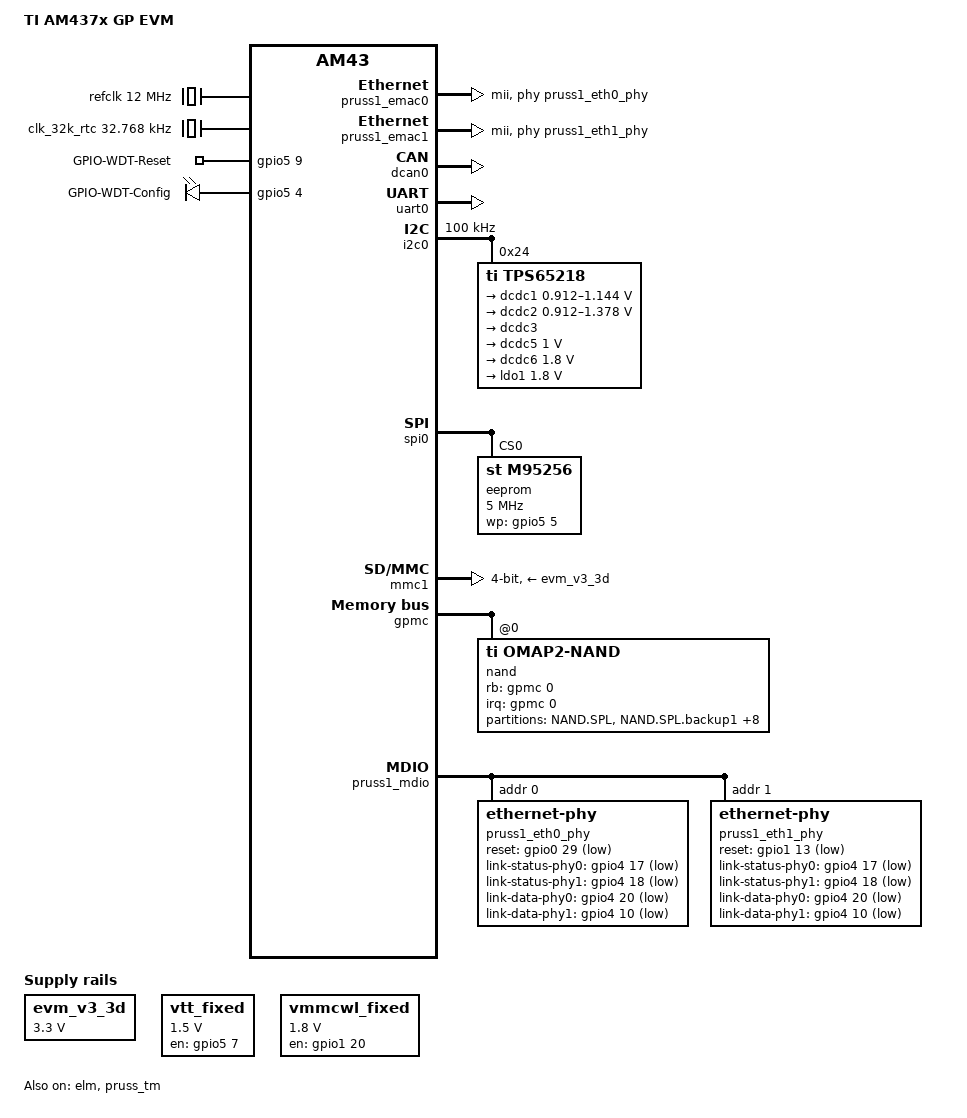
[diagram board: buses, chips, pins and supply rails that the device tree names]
// SPDX-License-Identifier: GPL-2.0-only
/*
 * Copyright (C) 2013 Texas Instruments Incorporated - http://www.ti.com/
 */

/* AM437x GP EVM */

/dts-v1/;

#include "am4372.dtsi"
#include <dt-bindings/pinctrl/am43xx.h>
#include <dt-bindings/pwm/pwm.h>
#include <dt-bindings/gpio/gpio.h>

/ {
	model = "TI AM437x GP EVM";
	compatible = "ti,am437x-gp-evm","ti,am4372","ti,am43";

	aliases {
                ethernet2 = &pruss1_emac0;
                ethernet3 = &pruss1_emac1;
	};

	chosen {
		stdout-path = &uart0;
	};

	evm_v3_3d: fixedregulator-v3_3d {
		compatible = "regulator-fixed";
		regulator-name = "evm_v3_3d";
		regulator-min-microvolt = <3300000>;
		regulator-max-microvolt = <3300000>;
		enable-active-high;
	};

	vtt_fixed: fixedregulator-vtt {
		compatible = "regulator-fixed";
		regulator-name = "vtt_fixed";
		regulator-min-microvolt = <1500000>;
		regulator-max-microvolt = <1500000>;
		regulator-always-on;
		regulator-boot-on;
		enable-active-high;
		gpio = <&gpio5 7 GPIO_ACTIVE_HIGH>;
	};

	vmmcwl_fixed: fixedregulator-mmcwl {
		compatible = "regulator-fixed";
		regulator-name = "vmmcwl_fixed";
		regulator-min-microvolt = <1800000>;
		regulator-max-microvolt = <1800000>;
		gpio = <&gpio1 20 GPIO_ACTIVE_HIGH>;
		enable-active-high;
	};
        
        pruss1-eth {
                compatible = "ti,am4376-prueth";
                prus = <&pru1_0>, <&pru1_1>;
                sram = <&ocmcram>;
                interrupt-parent = <&pruss1_intc>;
                mii-rt = <&pruss1_mii_rt>;
                iep = <&pruss1_iep>;

                status = "okay"; // added because PRU is not getting reg
                pinctrl-0 = <&pruss1_eth_default>;
                pinctrl-names = "default";
                interrupts = <20 2 2>, <21 3 3>;
                interrupt-names = "rx_lre_hp", "rx_lre_lp";

                pruss1_emac0: ethernet-mii0 {
                status = "okay"; // added because PRU is not getting reg
                        phy-handle = <&pruss1_eth0_phy>;
                        phy-mode = "mii";
                        interrupts = <20 2 2>;
                        interrupt-names = "rx";
                        ti,no-half-duplex;
                        /* Filled in by bootloader */
                        local-mac-address = [00 00 00 00 00 00];
                };

                pruss1_emac1: ethernet-mii1 {
                        status = "okay"; // added because PRU is not getting reg
                        phy-handle = <&pruss1_eth1_phy>;
                        phy-mode = "mii";
                        interrupts = <21 3 3>;
                        interrupt-names = "rx";
                        ti,no-half-duplex;
                        /* Filled in by bootloader */
                        local-mac-address = [00 00 00 00 00 00];
                };
        };

	/* fixed 12MHz oscillator */
	refclk: oscillator {
		#clock-cells = <0>;
		compatible = "fixed-clock";
		clock-frequency = <12000000>;
	};

	/* fixed 32k external oscillator clock */
	clk_32k_rtc: clk_32k_rtc {
		#clock-cells = <0>;
		compatible = "fixed-clock";
		clock-frequency = <32768>;
	};
        ExtWatchdog-iio{

                        compatible = "gpio-leds";
                        status = "okay";
                        pinctrl-names = "default";
                        pinctrl-0 = <&wdt_pins>;


                WDT-Reset {
                                label = "GPIO-WDT-Reset";
                                gpios = <&gpio5 9 0>;
                                linux,default-trigger = "timer";
                                active-delay = <3000>;
                                inactive-delay = <3000>;
                        };
                WDT-Config {
                                label = "GPIO-WDT-Config";
                                gpios = <&gpio5 4 0>;
                                default-state = "on";
                        };


        };


};


&dcan0 {
        pinctrl-names = "default", "sleep";
        pinctrl-0 = <&dcan0_default>;
        pinctrl-1 = <&dcan0_sleep>;
        status = "okay";
};



&am43xx_pinmux {

        wdt_pins:wdt_pin{

        pinctrl-single,pins= < 
                        AM4372_IOPAD(0xa3c, PIN_INPUT | MUX_MODE7)
                        AM4372_IOPAD(0xa50, PIN_OUTPUT_PULLUP | MUX_MODE7)                                                      
                >;
        };


	i2c0_pins: i2c0_pins {
		pinctrl-single,pins = <
			AM4372_IOPAD(0x988, PIN_INPUT_PULLUP | SLEWCTRL_FAST | MUX_MODE0)  /* i2c0_sda.i2c0_sda */
			AM4372_IOPAD(0x98c, PIN_INPUT_PULLUP | SLEWCTRL_FAST | MUX_MODE0)  /* i2c0_scl.i2c0_scl */
		>;
	};

        davinci_mdio_default: davinci_mdio_default {
		pinctrl-single,pins = <
			/* MDIO */
			AM4372_IOPAD(0x948, PIN_INPUT_PULLUP | SLEWCTRL_FAST | MUX_MODE0)	/* mdio_data.mdio_data */
			AM4372_IOPAD(0x94c, PIN_OUTPUT_PULLUP | MUX_MODE0)			/* mdio_clk.mdio_clk */
		>;
	};

	davinci_mdio_sleep: davinci_mdio_sleep {
		pinctrl-single,pins = <
			/* MDIO reset value */
			AM4372_IOPAD(0x948, PIN_INPUT_PULLDOWN | MUX_MODE7)
			AM4372_IOPAD(0x94c, PIN_INPUT_PULLDOWN | MUX_MODE7)
		>;
	};


        nand_flash_x8: nand_flash_x8 {
                pinctrl-single,pins = <
                        AM4372_IOPAD(0x800, PIN_INPUT  | MUX_MODE0)     /* gpmc_ad0.gpmc_ad0 */
                        AM4372_IOPAD(0x804, PIN_INPUT  | MUX_MODE0)     /* gpmc_ad1.gpmc_ad1 */
                        AM4372_IOPAD(0x808, PIN_INPUT  | MUX_MODE0)     /* gpmc_ad2.gpmc_ad2 */
                        AM4372_IOPAD(0x80c, PIN_INPUT  | MUX_MODE0)     /* gpmc_ad3.gpmc_ad3 */
                        AM4372_IOPAD(0x810, PIN_INPUT  | MUX_MODE0)     /* gpmc_ad4.gpmc_ad4 */
                        AM4372_IOPAD(0x814, PIN_INPUT  | MUX_MODE0)     /* gpmc_ad5.gpmc_ad5 */
                        AM4372_IOPAD(0x818, PIN_INPUT  | MUX_MODE0)     /* gpmc_ad6.gpmc_ad6 */
                        AM4372_IOPAD(0x81c, PIN_INPUT  | MUX_MODE0)     /* gpmc_ad7.gpmc_ad7 */
                        AM4372_IOPAD(0x888, PIN_INPUT_PULLUP | MUX_MODE1)       /* gpmc_wait0.gpmc_wait0 */
                        AM4372_IOPAD(0x82C, PIN_OUTPUT_PULLUP | MUX_MODE7)      /* gpmc_wpn.gpmc_wpn */
                        AM4372_IOPAD(0x87c, PIN_OUTPUT | MUX_MODE0)             /* gpmc_csn0.gpmc_csn0  */
                        AM4372_IOPAD(0x890, PIN_OUTPUT | MUX_MODE0)             /* gpmc_advn_ale.gpmc_advn_ale */
                        AM4372_IOPAD(0x894, PIN_OUTPUT | MUX_MODE0)             /* gpmc_oen_ren.gpmc_oen_ren */
                        AM4372_IOPAD(0x898, PIN_OUTPUT | MUX_MODE0)             /* gpmc_wen.gpmc_wen */
                        AM4372_IOPAD(0x89c, PIN_OUTPUT | MUX_MODE0)             /* gpmc_be0n_cle.gpmc_be0n_cle */
                >;
        };


      pruss1_mdio_default: pruss1-mdio-default {
                pinctrl-single,pins = <
                        AM4372_IOPAD(0x88c, (PIN_OUTPUT | MUX_MODE5))           /* gpmc_clk.pr1_mdio_mdclk */
                        AM4372_IOPAD(0xa70, (PIN_INPUT  | MUX_MODE8))           /* xdma_event_intr0.pr1_mdio_data */
                        
                        AM4372_IOPAD(0x834, (PIN_INPUT_PULLUP | MUX_MODE7))     /* RESET PIN - 1 */
                        AM4372_IOPAD(0x944, (PIN_INPUT_PULLUP | MUX_MODE7))     /* RESET PIN - 2 */
                >;
        };


	pruss1_eth_default: pruss1-eth-default {
		pinctrl-single,pins = <
			AM4372_IOPAD(0x8a0, (PIN_INPUT  | MUX_MODE2))	/* dss_data0.pr1_mii_mt0_clk */
			AM4372_IOPAD(0x8b4, (PIN_OUTPUT | MUX_MODE2))	/* dss_data5.pr1_mii0_txd0 */
			AM4372_IOPAD(0x8b0, (PIN_OUTPUT | MUX_MODE2))	/* dss_data4.pr1_mii0_txd1 */
			AM4372_IOPAD(0x8ac, (PIN_OUTPUT | MUX_MODE2))	/* dss_data3.pr1_mii0_txd2 */
			AM4372_IOPAD(0x8a8, (PIN_OUTPUT | MUX_MODE2))	/* dss_data2.pr1_mii0_txd3 */
			AM4372_IOPAD(0x8cc, (PIN_INPUT  | MUX_MODE5))	/* dss_data11.pr1_mii0_rxd0 */
			AM4372_IOPAD(0x8c8, (PIN_INPUT  | MUX_MODE5))	/* dss_data10.pr1_mii0_rxd1 */
			AM4372_IOPAD(0x8c4, (PIN_INPUT  | MUX_MODE5))	/* dss_data9.pr1_mii0_rxd2 */
			AM4372_IOPAD(0x8c0, (PIN_INPUT  | MUX_MODE5))	/* dss_data8.pr1_mii0_rxd3 */
			AM4372_IOPAD(0x8a4, (PIN_OUTPUT | MUX_MODE2))	/* dss_data1.pr1_mii0_txen */
			AM4372_IOPAD(0x8d8, (PIN_INPUT  | MUX_MODE5))	/* dss_data14.pr1_mii_mr0_clk */
			AM4372_IOPAD(0x8dc, (PIN_INPUT  | MUX_MODE5))	/* dss_data15.pr1_mii0_rxdv */
			AM4372_IOPAD(0x8d4, (PIN_INPUT  | MUX_MODE5))	/* dss_data13.pr1_mii0_rxer */
			AM4372_IOPAD(0x8d0, (PIN_INPUT  | MUX_MODE5))	/* dss_data12.pr1_mii0_rxlink */
			AM4372_IOPAD(0xa40, (PIN_INPUT  | MUX_MODE5))	/* gpio5_10.pr1_mii0_crs */
			AM4372_IOPAD(0xa38, (PIN_INPUT  | MUX_MODE5))	/* gpio5_8.pr1_mii0_col */
			
			AM4372_IOPAD(0x858, (PIN_INPUT  | MUX_MODE5))	/* gpmc_a6.pr1_mii_mt1_clk */
			AM4372_IOPAD(0x854, (PIN_OUTPUT | MUX_MODE5))	/* gpmc_a5.pr1_mii1_txd0 */
			AM4372_IOPAD(0x850, (PIN_OUTPUT | MUX_MODE5))	/* gpmc_a4.pr1_mii1_txd1 */
			AM4372_IOPAD(0x84c, (PIN_OUTPUT | MUX_MODE5))	/* gpmc_a3.pr1_mii1_txd2 */
			AM4372_IOPAD(0x848, (PIN_OUTPUT | MUX_MODE5))	/* gpmc_a2.pr1_mii1_txd3 */
			AM4372_IOPAD(0x86c, (PIN_INPUT  | MUX_MODE5))	/* gpmc_a11.pr1_mii1_rxd0 */
			AM4372_IOPAD(0x868, (PIN_INPUT  | MUX_MODE5))	/* gpmc_a10.pr1_mii1_rxd1 */
			AM4372_IOPAD(0x864, (PIN_INPUT  | MUX_MODE5))	/* gpmc_a9.pr1_mii1_rxd2 */
			AM4372_IOPAD(0x860, (PIN_INPUT  | MUX_MODE5))	/* gpmc_a8.pr1_mii1_rxd3 */
			AM4372_IOPAD(0x840, (PIN_OUTPUT | MUX_MODE5))	/* gpmc_a0.pr1_mii1_txen */
			AM4372_IOPAD(0x85c, (PIN_INPUT  | MUX_MODE5))	/* gpmc_a7.pr1_mii_mr1_clk */
			AM4372_IOPAD(0x844, (PIN_INPUT  | MUX_MODE5))	/* gpmc_a1.pr1_mii1_rxdv */
			AM4372_IOPAD(0x874, (PIN_INPUT  | MUX_MODE5))	/* gpmc_wpn.pr1_mii1_rxer */
			AM4372_IOPAD(0xa4c, (PIN_INPUT  | MUX_MODE5))	/* gpio5_13.pr1_mii1_rxlink */
			AM4372_IOPAD(0xa44, (PIN_INPUT  | MUX_MODE5))	/* gpio5_11.pr1_mii1_crs */
			AM4372_IOPAD(0x878, (PIN_INPUT  | MUX_MODE5))	/* gpmc_be1n.pr1_mii1_col */
		>;
	};

        spi0_pins_default: pinmux_spi0_pins_default {
                pinctrl-single,pins = <
                        AM4372_IOPAD(0x950, PIN_INPUT | MUX_MODE0)
                        AM4372_IOPAD(0x954, PIN_INPUT | MUX_MODE0)
                        AM4372_IOPAD(0x958, PIN_OUTPUT | MUX_MODE0)
                        AM4372_IOPAD(0x95C, PIN_OUTPUT | MUX_MODE0)
                        //GPIO Definations
                        AM4372_IOPAD(0x9cc, PIN_INPUT_PULLUP | MUX_MODE7)
                        AM4372_IOPAD(0x9f4, PIN_OUTPUT_PULLUP | MUX_MODE7)
                        AM4372_IOPAD(0x9f8, PIN_OUTPUT_PULLUP | MUX_MODE7)
                        AM4372_IOPAD(0x9fC, PIN_OUTPUT_PULLUP | MUX_MODE7)
                        AM4372_IOPAD(0xa18, PIN_OUTPUT_PULLUP | MUX_MODE7)
                        AM4372_IOPAD(0xa1c, PIN_OUTPUT_PULLUP | MUX_MODE7)
                        AM4372_IOPAD(0xa20, PIN_OUTPUT_PULLUP | MUX_MODE7)
                        AM4372_IOPAD(0xa24, PIN_OUTPUT_PULLUP | MUX_MODE7)
                        AM4372_IOPAD(0x9dc, PIN_OUTPUT_PULLUP | MUX_MODE7)
                        AM4372_IOPAD(0x9f0, PIN_OUTPUT_PULLUP | MUX_MODE7)
                        AM4372_IOPAD(0x9b0, PIN_INPUT_PULLUP | MUX_MODE7)
                        AM4372_IOPAD(0x824, PIN_INPUT_PULLUP | MUX_MODE7)
                        AM4372_IOPAD(0x820, PIN_INPUT_PULLUP | MUX_MODE7)
                        AM4372_IOPAD(0x83C, PIN_INPUT_PULLUP | MUX_MODE7)                       
                        AM4372_IOPAD(0x838, PIN_INPUT_PULLUP | MUX_MODE7)
                        AM4372_IOPAD(0xA48, PIN_OUTPUT_PULLUP | MUX_MODE7)
                        AM4372_IOPAD(0xAC4, PIN_OUTPUT_PULLUP | MUX_MODE9)
                        AM4372_IOPAD(0x9aC, PIN_OUTPUT | MUX_MODE9) //UART -1 Direction
                >;

        };
        spi0_pins_sleep: pinmux_spi0-pins_sleep {

                pinctrl-single,pins = <
                        AM4372_IOPAD(0x950, PIN_INPUT | MUX_MODE0)
                        AM4372_IOPAD(0x954, PIN_OUTPUT | MUX_MODE0)
                        AM4372_IOPAD(0x958, PIN_INPUT | MUX_MODE0)
                        AM4372_IOPAD(0x95C, PIN_OUTPUT | MUX_MODE0)             
                >;
        };

        dcan0_default: dcan0_default_pins {
                pinctrl-single,pins = <
                        AM4372_IOPAD(0x91C, PIN_OUTPUT | MUX_MODE1)             /* mii1_txd3.d_can0_tx */
                        AM4372_IOPAD(0x920, PIN_INPUT_PULLUP | MUX_MODE1)       /* mii1_txd2.d_can0_rx */
                >;
        };

        dcan0_sleep: dcan0_sleep_pins {
                pinctrl-single,pins = <
                        AM4372_IOPAD(0x91C, PIN_INPUT_PULLUP | MUX_MODE7)       /* mii1_txd3.gpio0_17 */
                        AM4372_IOPAD(0x920, PIN_INPUT_PULLUP | MUX_MODE7)       /* mii1_txd2.gpio0_16 */
                >;
        };

	uart0_pins_default: uart0_pins_default {
		pinctrl-single,pins = <
			AM4372_IOPAD(0x968, DS0_PULL_UP_DOWN_EN | INPUT_EN | MUX_MODE0) /* uart0_ctsn.uart0_ctsn */
			AM4372_IOPAD(0x96C, DS0_PULL_UP_DOWN_EN | INPUT_EN | MUX_MODE0) /* uart0_rtsn.uart0_rtsn */
			AM4372_IOPAD(0x970, PIN_INPUT_PULLUP | SLEWCTRL_FAST | DS0_PULL_UP_DOWN_EN | MUX_MODE0) /* uart0_rxd.uart0_rxd */
			AM4372_IOPAD(0x974, PIN_INPUT | PULL_DISABLE | SLEWCTRL_FAST | DS0_PULL_UP_DOWN_EN | MUX_MODE0) /* uart0_txd.uart0_txd */
		>;
	};

	uart0_pins_sleep: uart0_pins_sleep {
		pinctrl-single,pins = <
			AM4372_IOPAD(0x968, DS0_PULL_UP_DOWN_EN | INPUT_EN | MUX_MODE7) /* uart0_ctsn.uart0_ctsn */
			AM4372_IOPAD(0x96C, DS0_PULL_UP_DOWN_EN | INPUT_EN | MUX_MODE7) /* uart0_rtsn.uart0_rtsn */
			AM4372_IOPAD(0x970, PIN_INPUT_PULLUP | SLEWCTRL_FAST | DS0_PULL_UP_DOWN_EN | MUX_MODE0) /* uart0_rxd.uart0_rxd */
			AM4372_IOPAD(0x974, PIN_INPUT_PULLDOWN | SLEWCTRL_FAST | DS0_PULL_UP_DOWN_EN | MUX_MODE0) /* uart0_txd.uart0_txd */
		>;
	};

};

&uart0 {
	status = "okay";
	pinctrl-names = "default", "sleep";
	pinctrl-0 = <&uart0_pins_default>;
	pinctrl-1 = <&uart0_pins_sleep>;
};


&i2c0 {
	status = "okay";
	pinctrl-names = "default";
	pinctrl-0 = <&i2c0_pins>;
	clock-frequency = <100000>;

	tps65218: tps65218@24 {
		reg = <0x24>;
		compatible = "ti,tps65218";
		interrupts = <GIC_SPI 7 IRQ_TYPE_LEVEL_HIGH>; /* NMIn */
		interrupt-controller;
		#interrupt-cells = <2>;

		dcdc1: regulator-dcdc1 {
			regulator-name = "vdd_core";
			regulator-min-microvolt = <912000>;
			regulator-max-microvolt = <1144000>;
			regulator-boot-on;
			regulator-always-on;
		};

		dcdc2: regulator-dcdc2 {
			regulator-name = "vdd_mpu";
			regulator-min-microvolt = <912000>;
			regulator-max-microvolt = <1378000>;
			regulator-boot-on;
			regulator-always-on;
		};

		dcdc3: regulator-dcdc3 {
			regulator-name = "vdcdc3";
			regulator-boot-on;
			regulator-always-on;
			regulator-state-mem {
				regulator-on-in-suspend;
			};
			regulator-state-disk {
				regulator-off-in-suspend;
			};
		};

		dcdc5: regulator-dcdc5 {
			regulator-name = "v1_0bat";
			regulator-min-microvolt = <1000000>;
			regulator-max-microvolt = <1000000>;
			regulator-boot-on;
			regulator-always-on;
			regulator-state-mem {
				regulator-on-in-suspend;
			};
		};

		dcdc6: regulator-dcdc6 {
			regulator-name = "v1_8bat";
			regulator-min-microvolt = <1800000>;
			regulator-max-microvolt = <1800000>;
			regulator-boot-on;
			regulator-always-on;
			regulator-state-mem {
				regulator-on-in-suspend;
			};
		};

		ldo1: regulator-ldo1 {
			regulator-min-microvolt = <1800000>;
			regulator-max-microvolt = <1800000>;
			regulator-boot-on;
			regulator-always-on;
		};
	};
};


&spi0{
        status = "okay";
        pinctrl-names = "default","sleep";
        pinctrl-0 = <&spi0_pins_default>;
        pinctrl-1 = <&spi0_pins_sleep>;
        ti,pindir-d1-out-d0-in;
        eeprom@0 {
            compatible = "st,m95256", "atmel,at25";
            reg = <0>;
            spi-max-frequency = <5000000>;
            /*spi-max-frequency = <50000>;*/
            spi-cpha;
            spi-cpol;
            wp-gpios = <&gpio5 5 0>;

            pagesize = <256>;
            size = <131072>;
            address-width = <24>;
        };
};

&gpio0 {
	status = "okay";
};


&gpio1 {
	status = "okay";
};

&gpio2 {
	status = "okay";
};

&gpio3 {
	status = "okay";
};

&gpio4 {
	status = "okay";
};

&gpio5 {
	pinctrl-names = "default";
	status = "okay";
};

&mmc1 {
	status = "okay";
	vmmc-supply = <&evm_v3_3d>;
	bus-width = <4>;
        ti,non-removable;
};

&elm {
	status = "okay";
};

&gpmc {
	/*
	 * When enabling GPMC, disable eMMC and set
	 * SelEMMCorNAND to output-low
	 */
	status = "okay";
	pinctrl-names = "default";
	pinctrl-0 = <&nand_flash_x8>;
	ranges = <0 0 0x08000000 0x01000000>;	/* CS0 space. Min partition = 16MB */
	nand@0,0 {
		compatible = "ti,omap2-nand";
		reg = <0 0 4>;		/* device IO registers */
		interrupt-parent = <&gpmc>;
		interrupts = <0 IRQ_TYPE_NONE>, /* fifoevent */
			     <1 IRQ_TYPE_NONE>;	/* termcount */
		rb-gpios = <&gpmc 0 GPIO_ACTIVE_HIGH>;	/* gpmc_wait0 */
		ti,nand-xfer-type = "prefetch-dma";
		ti,nand-ecc-opt = "bch8";
		ti,elm-id = <&elm>;
		nand-bus-width = <8>;
		gpmc,device-width = <1>;
		gpmc,sync-clk-ps = <0>;
		gpmc,cs-on-ns = <0>;
		gpmc,cs-rd-off-ns = <40>;
		gpmc,cs-wr-off-ns = <40>;
		gpmc,adv-on-ns = <0>;
		gpmc,adv-rd-off-ns = <25>;
		gpmc,adv-wr-off-ns = <25>;
		gpmc,we-on-ns = <0>;
		gpmc,we-off-ns = <20>;
		gpmc,oe-on-ns = <3>;
		gpmc,oe-off-ns = <30>;
		gpmc,access-ns = <30>;
		gpmc,rd-cycle-ns = <40>;
		gpmc,wr-cycle-ns = <40>;
		gpmc,bus-turnaround-ns = <0>;
		gpmc,cycle2cycle-delay-ns = <0>;
		gpmc,clk-activation-ns = <0>;
		gpmc,wr-access-ns = <40>;
		gpmc,wr-data-mux-bus-ns = <0>;
		/* MTD partition table */
		/* All SPL-* partitions are sized to minimal length
		 * which can be independently programmable. For
		 * NAND flash this is equal to size of erase-block */
		#address-cells = <1>;
		#size-cells = <1>;
		partition@0 {
			label = "NAND.SPL";
			reg = <0x00000000 0x00040000>;
		};
		partition@1 {
			label = "NAND.SPL.backup1";
			reg = <0x00040000 0x00040000>;
		};
		partition@2 {
			label = "NAND.SPL.backup2";
			reg = <0x00080000 0x00040000>;
		};
		partition@3 {
			label = "NAND.SPL.backup3";
			reg = <0x000c0000 0x00040000>;
		};
		partition@4 {
			label = "NAND.u-boot-spl-os";
			reg = <0x00100000 0x00080000>;
		};
		partition@5 {
			label = "NAND.u-boot";
			reg = <0x00180000 0x00100000>;
		};
		partition@6 {
			label = "NAND.u-boot-env";
			reg = <0x00280000 0x00040000>;
		};
		partition@7 {
			label = "NAND.u-boot-env.backup1";
			reg = <0x002c0000 0x00040000>;
		};
		partition@8 {
			label = "NAND.kernel";
			reg = <0x00300000 0x00700000>;
		};
		partition@9 {
			label = "NAND.file-system";
			reg = <0x00a00000 0x1f600000>;
		};
	};
};

&dss {
	status = "disabled";

	pinctrl-names = "default";
	/*
          pinctrl-0 = <&dss_pins>;
        */

	port {
		dpi_out: endpoint {
			data-lines = <24>;
		};
	};
};

&pruss1_mdio {
        pinctrl-0 = <&pruss1_mdio_default>;
        pinctrl-names = "default";
        status = "okay";


        reset-delay-us = <100>; /* PHY datasheet states 1uS min */



        pruss1_eth0_phy: ethernet-phy@0 {
                reg = <0>;
                reset-gpios = <&gpio0 29 GPIO_ACTIVE_LOW>;
                rx-internal-delay-ps=<3500>;
                tx-internal-delay-ps=<3500>;
                link-status-phy0= <&gpio4 17 GPIO_ACTIVE_LOW>;
                link-status-phy1= <&gpio4 18 GPIO_ACTIVE_LOW>;
                link-data-phy0= <&gpio4 20 GPIO_ACTIVE_LOW>;
                link-data-phy1= <&gpio4 10 GPIO_ACTIVE_LOW>;
        };

        pruss1_eth1_phy: ethernet-phy@1 {
                reg = <1>;
                reset-gpios = <&gpio1 13 GPIO_ACTIVE_LOW>;
                rx-internal-delay-ps=<3500>;
                tx-internal-delay-ps=<3500>;
                link-status-phy0= <&gpio4 17 GPIO_ACTIVE_LOW>;
                link-status-phy1= <&gpio4 18 GPIO_ACTIVE_LOW>;
                link-data-phy0= <&gpio4 20 GPIO_ACTIVE_LOW>;
                link-data-phy1= <&gpio4 10 GPIO_ACTIVE_LOW>;
        };

};

&cpu {
	cpu0-supply = <&dcdc2>;
};

&wkup_m3_ipc {
	ti,set-io-isolation;
	ti,scale-data-fw = "am43x-evm-scale-data.bin";
};

&pruss_tm {
	status = "okay";
};
